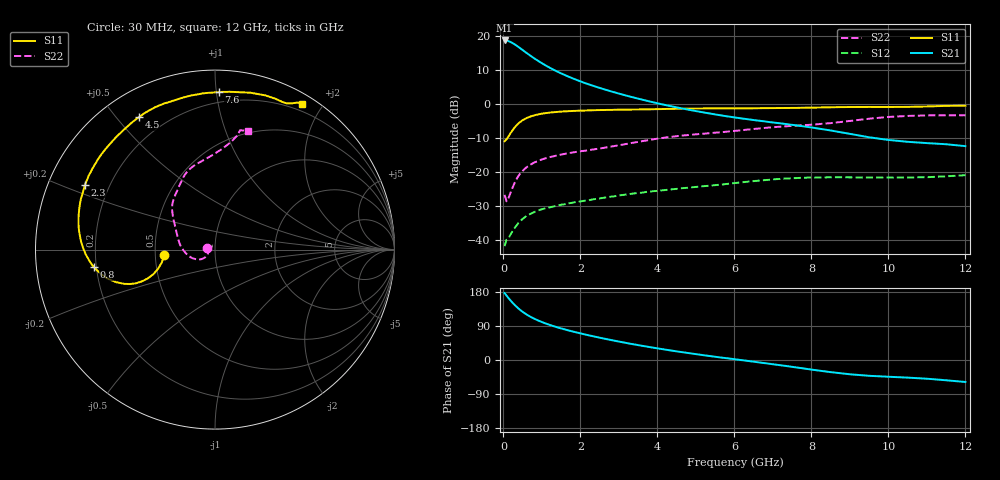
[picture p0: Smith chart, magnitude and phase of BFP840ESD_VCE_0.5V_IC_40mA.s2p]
! Infineon Technologies  Discrete & RF Semiconductors
! BFP840ESD
! VCE =  0.5 V,  IC =  40 mA
! Common Emitter S-Parameters:  May 2012
# GHz  S  MA  R  50
!  f  S11  S21  S12  S22
! GHz  MAG  ANG  MAG  ANG  MAG  ANG  MAG  ANG
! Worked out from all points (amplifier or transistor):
!   93 points, 30 MHz to 12 GHz, reference 50 ohm
!   highest |S21| = 18.7 dB at 30 MHz (marker M1)
!   |S21| within 3 dB of that: start of sweep to 520 MHz
!   unconditionally stable (mu >= 1): start of sweep to end of sweep
!   at 1.1 GHz: K = 2.18, MAG = 14.8 dB, |S12| = -30.6 dB
!   at 4.2 GHz: K = 2.70, MAG = 5.4 dB, |S12| = -25.3 dB
!   at 12 GHz: K = 1.84, MAG = -1.0 dB, |S12| = -20.9 dB
!   S11 on the Smith chart (normalised r, x): 30 MHz: 0.56, -0.04; 800 MHz: 0.19, -0.07; 2.3 GHz: 0.11, +0.23; 4.5 GHz: 0.11, +0.57; 7.6 GHz: 0.13, +1.02; 12 GHz: 0.12, +1.76
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0.03  0.284 -173.7  8.614 176.7  0.0081 15.1  0.0461 166.7
0.08  0.3035 -166.8  8.602 170.0  0.0101 26.2  0.037 -174.5
0.18  0.3691 -158.3  8.189 157.6  0.0119 32.1  0.0489 -147.7
0.23  0.4066 -156.8  7.924 151.8  0.0133 35.1  0.0577 -143.0
0.33  0.4795 -156.9  7.3 141.4  0.016 37.9  0.0767 -142.6
0.43  0.5419 -159.4  6.65 132.5  0.0189 39.2  0.094 -145.3
0.6  0.6219 -165.0  5.646 120.2  0.0227 37.9  0.1174 -152.5
0.7  0.6548 -168.5  5.142 114.2  0.0242 36.8  0.1283 -156.8
0.8  0.6824 -171.8  4.698 109.0  0.0257 35.5  0.1377 -160.4
1  0.7212 -178.0  3.98 100.1  0.0283 34.1  0.1532 -167.4
1.3  0.7571 174.1  3.199 89.4  0.0311 32.8  0.17 -176.1
1.6  0.7798 167.3  2.658 80.5  0.0336 31.6  0.1851 177.3
2.1  0.8012 157.1  2.051 67.8  0.0378 30.1  0.205 167.7
2.3  0.8093 153.4  1.877 63.3  0.0393 30.0  0.2132 164.1
3.1  0.8264 139.7  1.373 46.7  0.0459 28.0  0.2531 150.7
4.1  0.8427 124.7  0.996 29.1  0.0536 23.5  0.315 138.9
4.5  0.851 119.9  0.892 22.8  0.0565 21.7  0.3364 135.3
6.1  0.8622 104.6  0.624 0.8  0.0696 13.9  0.4072 119.3
7.6  0.877 88.6  0.486 -19.5  0.0813 0.7  0.4807 104.4
8.5  0.896 77.3  0.408 -32.0  0.0836 -7.5  0.5235 92.2
10.5  0.9077 63.8  0.278 -46.5  0.0831 -19.4  0.668 78.4
12  0.9453 59.0  0.24 -58.0  0.0897 -25.6  0.6838 74.6
